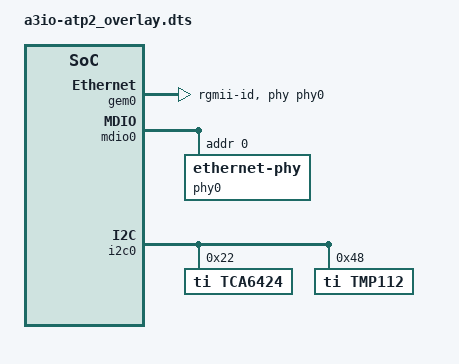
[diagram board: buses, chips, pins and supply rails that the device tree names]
/dts-v1/;
/plugin/;

#include <dt-bindings/input/input.h>
#include <dt-bindings/gpio/gpio.h>
#include <dt-bindings/pinctrl/pinctrl-zynqmp.h>
#include <dt-bindings/phy/phy.h>

&iv_ipmi_io {
    i2c = < 0 0x53 0 >;  // < bus_num addr offset >
    wp {
        i2c_gpio = < 0 0x22 8 1 >; // < bus_num addr gpio_num active_state >
    };
};

&gem0 {
    status = "okay";
    phy-handle = <&phy0>;
    phy-mode = "rgmii-id";
};

&mdio0 {
    phy0: ethernet-phy@0 {
        reg = <0>;
        device_type = "ethernet-phy";
    };
};

&gem1 {
    status = "disabled";
};

&i2c0 {
    tca6424@22 {
        compatible = "ti,tca6424";
        reg = <0x22>;
        gpio-controller;
        #gpio-cells = <0x02>;
    };

    tmp112@48 {
        compatible = "ti,tmp112";
        reg = <0x48>;
    };
};

